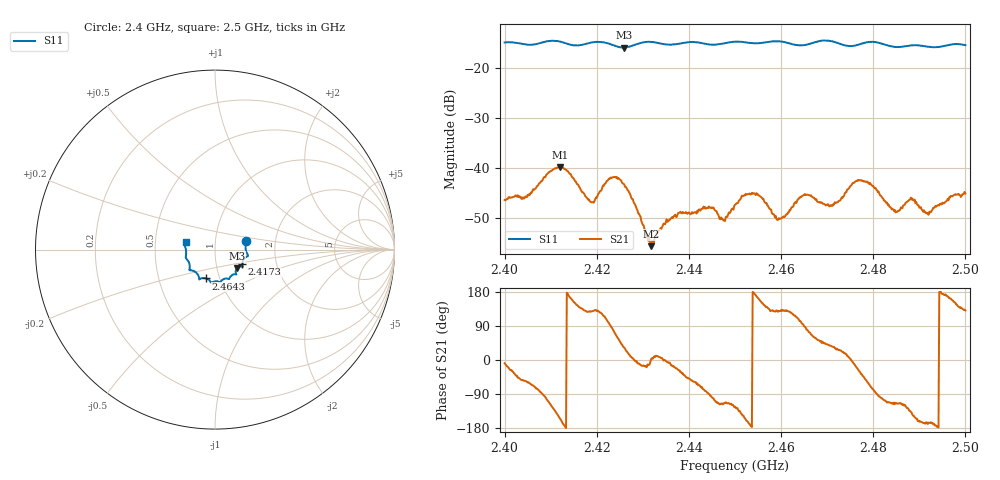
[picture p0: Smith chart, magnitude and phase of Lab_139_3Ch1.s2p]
# Hz S RI R 50
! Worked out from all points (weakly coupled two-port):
!   601 points, 2.4 GHz to 2.5 GHz, reference 50 ohm
!   highest |S21| = -39.85 dB at 2.412 GHz (marker M1); lowest = -55.7 dB at 2.4318 GHz (marker M2)
!   lowest |S11| = -15.9 dB at 2.4258 GHz (marker M3), VSWR 1.38, Z = 62.3 - j13.3 ohm
!   |S11| at or under -10 dB: start of sweep to end of sweep
!   S12 and S22 are empty: the file has one direction only
!   S11 on the Smith chart (normalised r, x): 2.4 GHz: 1.41, +0.14; 2.4173 GHz: 1.34, -0.23; 2.4643 GHz: 0.86, -0.28; 2.5 GHz: 0.72, +0.06
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2.4e9  0.173 0.0494  0.00472 -0.000713  0 0  0 0
2.412e9  0.1799 -0.0371  -0.00916 -0.00443  0 0  0 0
2.416667e9  0.1528 -0.0744  -0.00422 0.00406  0 0  0 0
2.417333e9  0.1522 -0.0818  -0.00354 0.00414  0 0  0 0
2.4235e9  0.1414 -0.0936  0.00131 0.00797  0 0  0 0
2.425833e9  0.1218 -0.1037  0.00572 0.0039  0 0  0 0
2.431833e9  0.1186 -0.1386  0.00164 0.000102  0 0  0 0
2.433333e9  0.1131 -0.137  0.00228 0.000362  0 0  0 0
2.438167e9  0.0824 -0.1554  0.00308 -0.00194  0 0  0 0
2.444833e9  0.0569 -0.1613  -0.000388 -0.00393  0 0  0 0
2.447333e9  0.0388 -0.1708  -0.00137 -0.00273  0 0  0 0
2.45e9  0.0294 -0.1809  -0.00232 -0.00359  0 0  0 0
2.4545e9  0.00597 -0.1764  -0.00528 0.000847  0 0  0 0
2.4595e9  -0.0227 -0.1835  -0.002 0.00241  0 0  0 0
2.464333e9  -0.0499 -0.1605  -0.000907 0.00502  0 0  0 0
2.466667e9  -0.0758 -0.1598  0.0021 0.0047  0 0  0 0
2.471e9  -0.0871 -0.1632  0.00341 0.00248  0 0  0 0
2.477167e9  -0.1282 -0.1163  0.00635 -0.004  0 0  0 0
2.483333e9  -0.1408 -0.0897  -0.0016 -0.00398  0 0  0 0
2.4885e9  -0.1616 -0.0482  -0.00401 -0.00287  0 0  0 0
2.492e9  -0.1611 -0.0253  -0.00328 -0.000855  0 0  0 0
2.5e9  -0.1638 0.0421  -0.00361 0.00418  0 0  0 0
